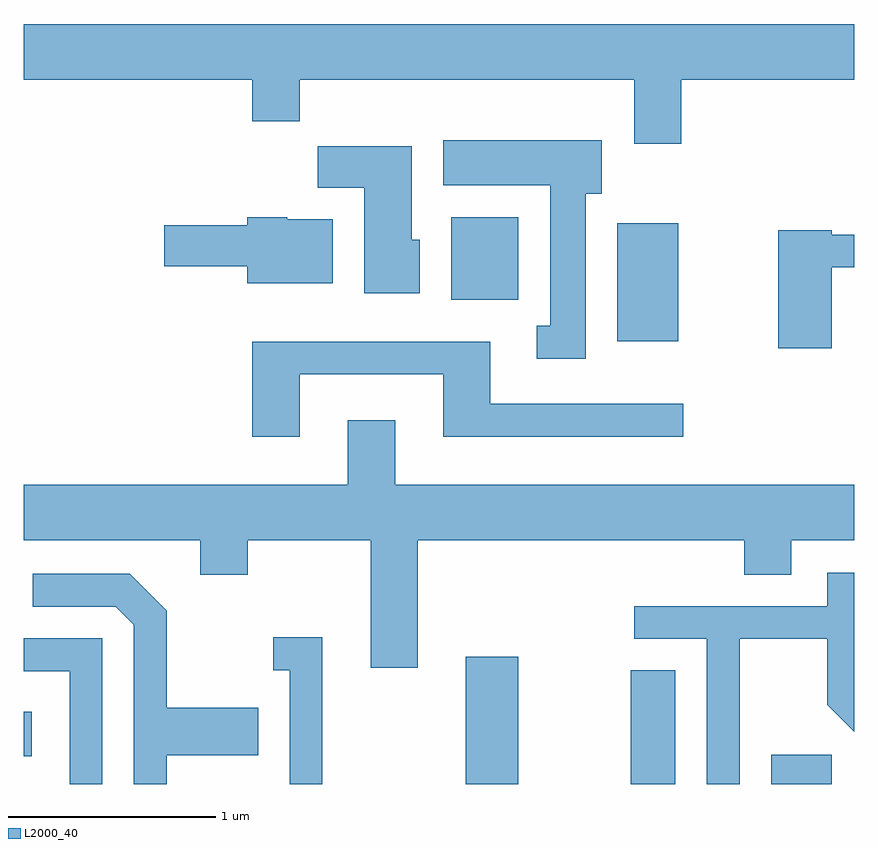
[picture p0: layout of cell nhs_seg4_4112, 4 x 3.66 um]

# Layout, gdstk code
import gdstk
lib = gdstk.Library(unit=1e-6, precision=1e-09)
def R(c, l, rs):  # rectangles x0, y0, x1, y1
    for r in rs: c.add(gdstk.rectangle(r[:2], r[2:], *l))
def P(c, l, *ps):  # polygons
    for p in ps: c.add(gdstk.Polygon(p, *l))
L2000_40 = (2000, 40)

nhs_seg4_4112 = lib.new_cell('nhs_seg4_4112')
R(nhs_seg4_4112, L2000_40, [(307.741,1317.982,307.994,1318.594), (308.536,1317.982,308.749,1318.529), (309.211,1317.982,309.504,1318.124), (305.611,1318.116,305.649,1318.329), (308.471,1320.116,308.764,1320.684), (307.671,1320.316,307.994,1320.714)])
P(nhs_seg4_4112, L2000_40, [(308.779,1321.376),(309.611,1321.376),(309.611,1321.644),(305.611,1321.644),(305.611,1321.376),(306.711,1321.376),(306.711,1321.176),(306.939,1321.176),(306.939,1321.376),(308.551,1321.376),(308.551,1321.066),(308.779,1321.066)],
  [(308.319,1320.826),(308.394,1320.826),(308.394,1321.084),(307.631,1321.084),(307.631,1320.866),(308.146,1320.866),(308.146,1320.189),(308.083,1320.189),(308.083,1320.031),(308.319,1320.031)],
  [(307.519,1320.604),(307.479,1320.604),(307.479,1321.054),(307.026,1321.054),(307.026,1320.856),(307.251,1320.856),(307.251,1320.346),(307.519,1320.346)],
  [(307.099,1320.704),(306.88,1320.704),(306.88,1320.714),(306.686,1320.714),(306.686,1320.674),(306.286,1320.674),(306.286,1320.476),(306.686,1320.476),(306.686,1320.396),(307.099,1320.396)],
  [(309.504,1320.471),(309.611,1320.471),(309.611,1320.629),(309.504,1320.629),(309.504,1320.649),(309.246,1320.649),(309.246,1320.081),(309.504,1320.081)],
  [(306.939,1319.956),(307.631,1319.956),(307.631,1319.656),(308.788,1319.656),(308.788,1319.814),(307.859,1319.814),(307.859,1320.114),(306.711,1320.114),(306.711,1319.656),(306.939,1319.656)],
  [(307.509,1319.156),(309.081,1319.156),(309.081,1318.991),(309.309,1318.991),(309.309,1319.156),(309.611,1319.156),(309.611,1319.424),(307.399,1319.424),(307.399,1319.734),(307.171,1319.734),(307.171,1319.424),(305.611,1319.424),(305.611,1319.156),(306.461,1319.156),(306.461,1318.991),(306.689,1318.991),(306.689,1319.156),(307.281,1319.156),(307.281,1318.541),(307.509,1318.541)],
  [(309.059,1318.681),(309.481,1318.681),(309.481,1318.364),(309.611,1318.234),(309.611,1318.999),(309.481,1318.999),(309.481,1318.839),(308.553,1318.839),(308.553,1318.681),(308.901,1318.681),(308.901,1317.982),(309.059,1317.982)],
  [(306.299,1318.121),(306.739,1318.121),(306.739,1318.349),(306.299,1318.349),(306.299,1318.817),(306.122,1318.994),(305.653,1318.994),(305.653,1318.836),(306.054,1318.836),(306.141,1318.749),(306.141,1317.982),(306.299,1317.982)],
  [(307.049,1318.689),(306.813,1318.689),(306.813,1318.531),(306.891,1318.531),(306.891,1317.982),(307.049,1317.982)],
  [(305.989,1318.684),(305.611,1318.684),(305.611,1318.526),(305.831,1318.526),(305.831,1317.982),(305.989,1317.982)])

lib.write_gds('nhs_seg4_4112.gds')
